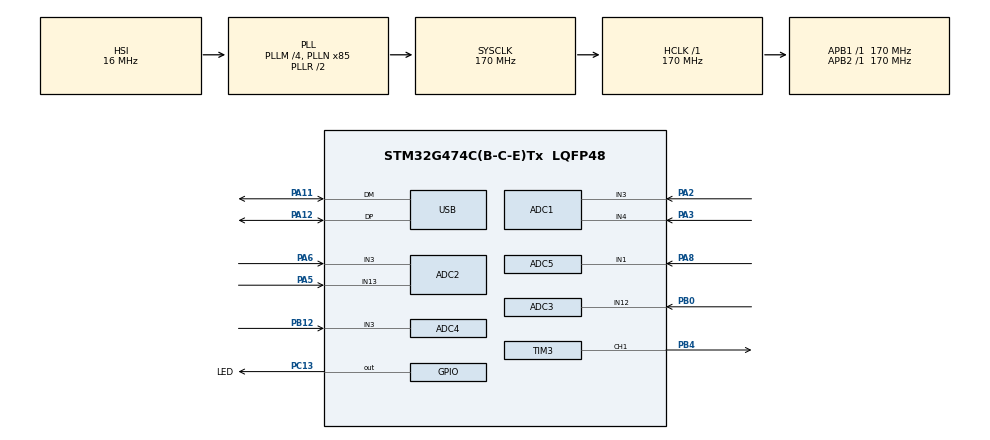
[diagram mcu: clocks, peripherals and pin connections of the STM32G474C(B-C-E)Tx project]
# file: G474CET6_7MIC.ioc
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ADC1.Channel-0\#ChannelRegularConversion=ADC_CHANNEL_3
ADC1.Channel-1\#ChannelRegularConversion=ADC_CHANNEL_4
ADC1.DMAContinuousRequests=ENABLE
ADC1.ExternalTrigConv=ADC_EXTERNALTRIG_T6_TRGO
ADC1.NbrOfConversion=2
ADC1.NbrOfConversionFlag=1
ADC1.OffsetNumber-0\#ChannelRegularConversion=ADC_OFFSET_NONE
ADC1.OffsetNumber-1\#ChannelRegularConversion=ADC_OFFSET_NONE
ADC1.Rank-0\#ChannelRegularConversion=1
ADC1.Rank-1\#ChannelRegularConversion=2
ADC1.SamplingTime-0\#ChannelRegularConversion=ADC_SAMPLETIME_640CYCLES_5
ADC1.SamplingTime-1\#ChannelRegularConversion=ADC_SAMPLETIME_640CYCLES_5
ADC1.master=1
ADC2.Channel-0\#ChannelRegularConversion=ADC_CHANNEL_13
ADC2.Channel-1\#ChannelRegularConversion=ADC_CHANNEL_3
ADC2.DMAContinuousRequests=ENABLE
ADC2.ExternalTrigConv=ADC_EXTERNALTRIG_T6_TRGO
ADC2.NbrOfConversion=2
ADC2.NbrOfConversionFlag=1
ADC2.OffsetNumber-0\#ChannelRegularConversion=ADC_OFFSET_NONE
ADC2.OffsetNumber-1\#ChannelRegularConversion=ADC_OFFSET_NONE
ADC2.Rank-0\#ChannelRegularConversion=1
ADC2.Rank-1\#ChannelRegularConversion=2
ADC2.SamplingTime-0\#ChannelRegularConversion=ADC_SAMPLETIME_640CYCLES_5
ADC2.SamplingTime-1\#ChannelRegularConversion=ADC_SAMPLETIME_640CYCLES_5
ADC3.Channel-0\#ChannelRegularConversion=ADC_CHANNEL_12
ADC3.DMAContinuousRequests=ENABLE
ADC3.ExternalTrigConv=ADC_EXTERNALTRIG_T6_TRGO
ADC3.NbrOfConversionFlag=1
ADC3.OffsetNumber-0\#ChannelRegularConversion=ADC_OFFSET_NONE
ADC3.Rank-0\#ChannelRegularConversion=1
ADC3.SamplingTime-0\#ChannelRegularConversion=ADC_SAMPLETIME_640CYCLES_5
ADC3.master=1
ADC4.Channel-1\#ChannelRegularConversion=ADC_CHANNEL_3
ADC4.DMAContinuousRequests=ENABLE
ADC4.ExternalTrigConv=ADC_EXTERNALTRIG_T6_TRGO
ADC4.NbrOfConversionFlag=1
ADC4.OffsetNumber-1\#ChannelRegularConversion=ADC_OFFSET_NONE
ADC4.Rank-1\#ChannelRegularConversion=1
ADC4.SamplingTime-1\#ChannelRegularConversion=ADC_SAMPLETIME_640CYCLES_5
ADC5.Channel-0\#ChannelRegularConversion=ADC_CHANNEL_1
ADC5.DMAContinuousRequests=ENABLE
ADC5.ExternalTrigConv=ADC_EXTERNALTRIG_T6_TRGO
ADC5.NbrOfConversionFlag=1
ADC5.OffsetNumber-0\#ChannelRegularConversion=ADC_OFFSET_NONE
ADC5.Rank-0\#ChannelRegularConversion=1
ADC5.SamplingTime-0\#ChannelRegularConversion=ADC_SAMPLETIME_640CYCLES_5
Dma.ADC1.0.Direction=DMA_PERIPH_TO_MEMORY
Dma.ADC1.0.EventEnable=DISABLE
Dma.ADC1.0.Instance=DMA1_Channel1
Dma.ADC1.0.MemDataAlignment=DMA_MDATAALIGN_HALFWORD
Dma.ADC1.0.MemInc=DMA_MINC_ENABLE
Dma.ADC1.0.Mode=DMA_CIRCULAR
Dma.ADC1.0.PeriphDataAlignment=DMA_PDATAALIGN_HALFWORD
Dma.ADC1.0.PeriphInc=DMA_PINC_DISABLE
Dma.ADC1.0.Polarity=HAL_DMAMUX_REQ_GEN_RISING
Dma.ADC1.0.Priority=DMA_PRIORITY_MEDIUM
Dma.ADC1.0.RequestNumber=1
Dma.ADC1.0.SignalID=NONE
Dma.ADC1.0.SyncEnable=DISABLE
Dma.ADC1.0.SyncPolarity=HAL_DMAMUX_SYNC_NO_EVENT
Dma.ADC1.0.SyncRequestNumber=1
Dma.ADC1.0.SyncSignalID=NONE
Dma.ADC2.1.Direction=DMA_PERIPH_TO_MEMORY
Dma.ADC2.1.EventEnable=DISABLE
Dma.ADC2.1.Instance=DMA1_Channel2
Dma.ADC2.1.MemDataAlignment=DMA_MDATAALIGN_HALFWORD
Dma.ADC2.1.MemInc=DMA_MINC_ENABLE
Dma.ADC2.1.Mode=DMA_CIRCULAR
Dma.ADC2.1.PeriphDataAlignment=DMA_PDATAALIGN_HALFWORD
Dma.ADC2.1.PeriphInc=DMA_PINC_DISABLE
Dma.ADC2.1.Polarity=HAL_DMAMUX_REQ_GEN_RISING
Dma.ADC2.1.Priority=DMA_PRIORITY_LOW
Dma.ADC2.1.RequestNumber=1
Dma.ADC2.1.SignalID=NONE
Dma.ADC2.1.SyncEnable=DISABLE
Dma.ADC2.1.SyncPolarity=HAL_DMAMUX_SYNC_NO_EVENT
Dma.ADC2.1.SyncRequestNumber=1
Dma.ADC2.1.SyncSignalID=NONE
Dma.ADC3.2.Direction=DMA_PERIPH_TO_MEMORY
Dma.ADC3.2.EventEnable=DISABLE
Dma.ADC3.2.Instance=DMA2_Channel1
Dma.ADC3.2.MemDataAlignment=DMA_MDATAALIGN_HALFWORD
Dma.ADC3.2.MemInc=DMA_MINC_ENABLE
Dma.ADC3.2.Mode=DMA_CIRCULAR
Dma.ADC3.2.PeriphDataAlignment=DMA_PDATAALIGN_HALFWORD
Dma.ADC3.2.PeriphInc=DMA_PINC_DISABLE
Dma.ADC3.2.Polarity=HAL_DMAMUX_REQ_GEN_RISING
Dma.ADC3.2.Priority=DMA_PRIORITY_HIGH
Dma.ADC3.2.RequestNumber=1
Dma.ADC3.2.SignalID=NONE
Dma.ADC3.2.SyncEnable=DISABLE
Dma.ADC3.2.SyncPolarity=HAL_DMAMUX_SYNC_NO_EVENT
Dma.ADC3.2.SyncRequestNumber=1
Dma.ADC3.2.SyncSignalID=NONE
Dma.ADC4.3.Direction=DMA_PERIPH_TO_MEMORY
Dma.ADC4.3.EventEnable=DISABLE
Dma.ADC4.3.Instance=DMA2_Channel2
Dma.ADC4.3.MemDataAlignment=DMA_MDATAALIGN_HALFWORD
Dma.ADC4.3.MemInc=DMA_MINC_ENABLE
Dma.ADC4.3.Mode=DMA_CIRCULAR
Dma.ADC4.3.PeriphDataAlignment=DMA_PDATAALIGN_HALFWORD
Dma.ADC4.3.PeriphInc=DMA_PINC_DISABLE
Dma.ADC4.3.Polarity=HAL_DMAMUX_REQ_GEN_RISING
Dma.ADC4.3.Priority=DMA_PRIORITY_LOW
Dma.ADC4.3.RequestNumber=1
Dma.ADC4.3.SignalID=NONE
Dma.ADC4.3.SyncEnable=DISABLE
Dma.ADC4.3.SyncPolarity=HAL_DMAMUX_SYNC_NO_EVENT
Dma.ADC4.3.SyncRequestNumber=1
Dma.ADC4.3.SyncSignalID=NONE
Dma.ADC5.4.Direction=DMA_PERIPH_TO_MEMORY
Dma.ADC5.4.EventEnable=DISABLE
Dma.ADC5.4.Instance=DMA2_Channel3
Dma.ADC5.4.MemDataAlignment=DMA_MDATAALIGN_HALFWORD
Dma.ADC5.4.MemInc=DMA_MINC_ENABLE
Dma.ADC5.4.Mode=DMA_CIRCULAR
Dma.ADC5.4.PeriphDataAlignment=DMA_PDATAALIGN_HALFWORD
Dma.ADC5.4.PeriphInc=DMA_PINC_DISABLE
Dma.ADC5.4.Polarity=HAL_DMAMUX_REQ_GEN_RISING
Dma.ADC5.4.Priority=DMA_PRIORITY_VERY_HIGH
Dma.ADC5.4.RequestNumber=1
Dma.ADC5.4.SignalID=NONE
Dma.ADC5.4.SyncEnable=DISABLE
Dma.ADC5.4.SyncPolarity=HAL_DMAMUX_SYNC_NO_EVENT
Dma.ADC5.4.SyncRequestNumber=1
Dma.ADC5.4.SyncSignalID=NONE
Dma.Request0=ADC1
Dma.Request1=ADC2
Dma.Request2=ADC3
Dma.Request3=ADC4
Dma.Request4=ADC5
FREERTOS.Events01=adc_dma_Event,Dynamic,NULL
FREERTOS.Tasks01=defaultTask,24,1024,StartDefaultTask,Default,NULL,Dynamic,NULL,NULL;ledTask,8,128,LEDTask,Default,NULL,Dynamic,NULL,NULL
FREERTOS.configTOTAL_HEAP_SIZE=10240
Mcu.Family=STM32G4
Mcu.Name=STM32G474C(B-C-E)Tx
Mcu.Package=LQFP48
NVIC.DMA1_Channel1_IRQn=true\:5\:0\:false\:false\:true\:true\:false\:true\:true
NVIC.DMA1_Channel2_IRQn=true\:5\:0\:false\:false\:true\:true\:false\:true\:true
NVIC.DMA2_Channel1_IRQn=true\:5\:0\:true\:false\:true\:false\:false\:true\:true
NVIC.DMA2_Channel2_IRQn=true\:5\:0\:true\:false\:true\:false\:false\:true\:true
NVIC.DMA2_Channel3_IRQn=true\:5\:0\:true\:false\:true\:false\:false\:true\:true
NVIC.PriorityGroup=NVIC_PRIORITYGROUP_4
NVIC.TIM20_UP_IRQn=true\:15\:0\:false\:false\:true\:false\:false\:true\:true
NVIC.TimeBase=TIM20_UP_IRQn
NVIC.TimeBaseIP=TIM20
NVIC.USB_LP_IRQn=true\:5\:0\:false\:false\:true\:true\:false\:true\:true
PA11.Mode=Device
PA11.Signal=USB_DM
PA12.Mode=Device
PA12.Signal=USB_DP
PA13.Mode=Serial_Wire
PA13.Signal=SYS_JTMS-SWDIO
PA14.Mode=Serial_Wire
PA14.Signal=SYS_JTCK-SWCLK
PA2.Mode=IN3-Single-Ended
PA2.Signal=ADC1_IN3
PA3.Mode=IN4-Single-Ended
PA3.Signal=ADC1_IN4
PA5.Mode=IN13-Single-Ended
PA5.Signal=ADC2_IN13
PA6.Mode=IN3-Single-Ended
PA6.Signal=ADC2_IN3
PA8.Mode=IN1-Single-Ended
PA8.Signal=ADC5_IN1
PB0.Mode=IN12-Single-Ended
PB0.Signal=ADC3_IN12
PB12.Mode=IN3-Single-Ended
PB12.Signal=ADC4_IN3
PB4.GPIO_ModeDefaultPP=GPIO_MODE_AF_OD
PB4.GPIO_Speed=GPIO_SPEED_FREQ_VERY_HIGH
PB4.Signal=S_TIM3_CH1
PC13.GPIO_Label=LED
PC13.GPIO_ModeDefaultOutputPP=GPIO_MODE_OUTPUT_PP
PC13.GPIO_PuPd=GPIO_PULLUP
PC13.PinState=GPIO_PIN_SET
PC13.Signal=GPIO_Output
PF0-OSC_IN.Mode=HSE-External-Oscillator
PF0-OSC_IN.Signal=RCC_OSC_IN
PF1-OSC_OUT.Mode=HSE-External-Oscillator
PF1-OSC_OUT.Signal=RCC_OSC_OUT
ProjectManager.HeapSize=0x100
ProjectManager.StackSize=0x1000
ProjectManager.TargetToolchain=MDK-ARM V5.32
RCC.ADC12Freq_Value=170000000
RCC.ADC345Freq_Value=170000000
RCC.AHBFreq_Value=170000000
RCC.APB1Freq_Value=170000000
RCC.APB1TimFreq_Value=170000000
RCC.APB2Freq_Value=170000000
RCC.APB2TimFreq_Value=170000000
RCC.CK48CLockSelection=RCC_USBCLKSOURCE_HSI48
RCC.CortexFreq_Value=170000000
RCC.EXTERNAL_CLOCK_VALUE=12288000
RCC.HCLKFreq_Value=170000000
RCC.HSE_VALUE=8000000
RCC.HSI48_VALUE=48000000
RCC.HSI_VALUE=16000000
RCC.LSE_VALUE=32768
RCC.PLLM=RCC_PLLM_DIV4
RCC.PLLN=85
RCC.SYSCLKFreq_VALUE=170000000
RCC.SYSCLKSource=RCC_SYSCLKSOURCE_PLLCLK
RCC.USBFreq_Value=48000000
RCC.VCOOutputFreq_Value=340000000
SH.S_TIM3_CH1.0=TIM3_CH1,PWM Generation1 CH1
TIM3.AutoReloadPreload=TIM_AUTORELOAD_PRELOAD_ENABLE
TIM3.Channel-PWM\ Generation1\ CH1=TIM_CHANNEL_1
TIM3.PeriodNoDither=1
TIM3.Prescaler=849
TIM3.PulseNoDither_1=1
TIM6.AutoReloadPreload=TIM_AUTORELOAD_PRELOAD_ENABLE
TIM6.PeriodNoDither=99
TIM6.Prescaler=169
TIM6.TIM_MasterOutputTrigger=TIM_TRGO_UPDATE
USB_DEVICE.CLASS_NAME_FS=CDC
USB_DEVICE.VirtualMode=Cdc
USB_DEVICE.VirtualModeFS=Cdc_FS
VP_FREERTOS_VS_CMSIS_V2.Mode=CMSIS_V2
VP_SYS_VS_DBSignals.Mode=DisableDeadBatterySignals
VP_SYS_VS_tim20.Mode=TIM20
VP_TIM3_VS_ClockSourceINT.Mode=Internal
VP_TIM6_VS_ClockSourceINT.Mode=Enable_Timer
VP_USB_DEVICE_VS_USB_DEVICE_CDC_FS.Mode=CDC_FS
board=custom

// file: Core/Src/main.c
/* USER CODE BEGIN Header */
/**
  ******************************************************************************
  * @file           : main.c
  * @brief          : Main program body
  ******************************************************************************
  * @attention
  *
  * Copyright (c) 2025 STMicroelectronics.
  * All rights reserved.
  *
  * This software is licensed under terms that can be found in the LICENSE file
  * in the root directory of this software component.
  * If no LICENSE file comes with this software, it is provided AS-IS.
  *
  ******************************************************************************
  */
/* USER CODE END Header */
#include "main.h"
#include "cmsis_os.h"
#include "adc.h"
#include "dma.h"
#include "tim.h"
#include "usb_device.h"
#include "gpio.h"

void SystemClock_Config(void);
void MX_FREERTOS_Init(void);

int main(void)
{

  /* MCU Configuration--------------------------------------------------------*/

  /* Reset of all peripherals, Initializes the Flash interface and the Systick. */
  HAL_Init();

  /* Configure the system clock */
  SystemClock_Config();

  /* Initialize all configured peripherals */
  MX_GPIO_Init();
  MX_DMA_Init();
  MX_USB_Device_Init();
  MX_ADC1_Init();
  MX_ADC2_Init();
  MX_ADC3_Init();
  MX_ADC4_Init();
  MX_ADC5_Init();
  MX_TIM6_Init();
  MX_TIM3_Init();

  /* Init scheduler */
  osKernelInitialize();  /* Call init function for freertos objects (in freertos.c) */
  MX_FREERTOS_Init();

  /* Start scheduler */
  osKernelStart();

  /* We should never get here as control is now taken by the scheduler */
  /* Infinite loop */
  while (1)
  {

  }
}

void SystemClock_Config(void)
{
  RCC_OscInitTypeDef RCC_OscInitStruct = {0};
  RCC_ClkInitTypeDef RCC_ClkInitStruct = {0};

  /** Configure the main internal regulator output voltage
  */
  HAL_PWREx_ControlVoltageScaling(PWR_REGULATOR_VOLTAGE_SCALE1_BOOST);

  /** Initializes the RCC Oscillators according to the specified parameters
  * in the RCC_OscInitTypeDef structure.
  */
  RCC_OscInitStruct.OscillatorType = RCC_OSCILLATORTYPE_HSI|RCC_OSCILLATORTYPE_HSI48;
  RCC_OscInitStruct.HSIState = RCC_HSI_ON;
  RCC_OscInitStruct.HSICalibrationValue = RCC_HSICALIBRATION_DEFAULT;
  RCC_OscInitStruct.HSI48State = RCC_HSI48_ON;
  RCC_OscInitStruct.PLL.PLLState = RCC_PLL_ON;
  RCC_OscInitStruct.PLL.PLLSource = RCC_PLLSOURCE_HSI;
  RCC_OscInitStruct.PLL.PLLM = RCC_PLLM_DIV4;
  RCC_OscInitStruct.PLL.PLLN = 85;
  RCC_OscInitStruct.PLL.PLLP = RCC_PLLP_DIV2;
  RCC_OscInitStruct.PLL.PLLQ = RCC_PLLQ_DIV2;
  RCC_OscInitStruct.PLL.PLLR = RCC_PLLR_DIV2;
  if (HAL_RCC_OscConfig(&RCC_OscInitStruct) != HAL_OK)
  {
    Error_Handler();
  }

  /** Initializes the CPU, AHB and APB buses clocks
  */
  RCC_ClkInitStruct.ClockType = RCC_CLOCKTYPE_HCLK|RCC_CLOCKTYPE_SYSCLK
                              |RCC_CLOCKTYPE_PCLK1|RCC_CLOCKTYPE_PCLK2;
  RCC_ClkInitStruct.SYSCLKSource = RCC_SYSCLKSOURCE_PLLCLK;
  RCC_ClkInitStruct.AHBCLKDivider = RCC_SYSCLK_DIV1;
  RCC_ClkInitStruct.APB1CLKDivider = RCC_HCLK_DIV1;
  RCC_ClkInitStruct.APB2CLKDivider = RCC_HCLK_DIV1;

  if (HAL_RCC_ClockConfig(&RCC_ClkInitStruct, FLASH_LATENCY_4) != HAL_OK)
  {
    Error_Handler();
  }
}

void HAL_TIM_PeriodElapsedCallback(TIM_HandleTypeDef *htim)
{
  if (htim->Instance == TIM20) {
    HAL_IncTick();
  }
}

void Error_Handler(void)
{
  __disable_irq();
  while (1)
  {
  }
}

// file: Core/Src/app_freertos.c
/* USER CODE BEGIN Header */
/**
  ******************************************************************************
  * File Name          : app_freertos.c
  * Description        : Code for freertos applications
  ******************************************************************************
  * @attention
  *
  * Copyright (c) 2025 STMicroelectronics.
  * All rights reserved.
  *
  * This software is licensed under terms that can be found in the LICENSE file
  * in the root directory of this software component.
  * If no LICENSE file comes with this software, it is provided AS-IS.
  *
  ******************************************************************************
  */
/* USER CODE END Header */

#include "FreeRTOS.h"
#include "task.h"
#include "main.h"
#include "cmsis_os.h"

/* USER CODE BEGIN Includes */
#include "event_groups.h"
/* USER CODE END Includes */

/* USER CODE BEGIN PTD */
// 事件标志宏定义（5个ADC，每个有半满和全满事件）
#define EVENT_ADC1_DMA_HALF  (0x0001UL)  // ADC1半满（0~199数据，因ADC1缓存是400）
#define EVENT_ADC1_DMA_FULL  (0x0002UL)  // ADC1全满（200~399数据）
#define EVENT_ADC2_DMA_HALF  (0x0004UL)  // ADC2半满（0~199）
#define EVENT_ADC2_DMA_FULL  (0x0008UL)  // ADC2全满（200~399）
#define EVENT_ADC3_DMA_HALF  (0x0010UL)  // ADC3半满（0~99）
#define EVENT_ADC3_DMA_FULL  (0x0020UL)  // ADC3全满（100~199）
#define EVENT_ADC4_DMA_HALF  (0x0040UL)  // ADC4半满（0~99）
#define EVENT_ADC4_DMA_FULL  (0x0080UL)  // ADC4全满（100~199）
#define EVENT_ADC5_DMA_HALF  (0x0100UL)  // ADC5半满（0~99）
#define EVENT_ADC5_DMA_FULL  (0x0200UL)  // ADC5全满（100~199）

// 2. 组合标志：所有ADC的半满事件（用于同步等待）
#define EVENT_ALL_HALF (EVENT_ADC1_DMA_HALF | EVENT_ADC2_DMA_HALF | \
                        EVENT_ADC3_DMA_HALF | EVENT_ADC4_DMA_HALF | EVENT_ADC5_DMA_HALF)
// 3. 组合标志：所有ADC的全满事件
#define EVENT_ALL_FULL (EVENT_ADC1_DMA_FULL | EVENT_ADC2_DMA_FULL | \
                        EVENT_ADC3_DMA_FULL | EVENT_ADC4_DMA_FULL | EVENT_ADC5_DMA_FULL)

// 2. 组合标志：所有ADC的半满事件（用于同步等待）
#define EVENT_345_HALF (EVENT_ADC3_DMA_HALF | EVENT_ADC4_DMA_HALF | EVENT_ADC5_DMA_HALF)
// 3. 组合标志：所有ADC的全满事件
#define EVENT_345_FULL (EVENT_ADC3_DMA_FULL | EVENT_ADC4_DMA_FULL | EVENT_ADC5_DMA_FULL)

// 数据帧结构定义：2（帧头）+5×100（5路ADC数据）+2（帧尾）=504个Word_union
#define ADC_DATA_CNT  100    // 每路ADC通道单次发送数据量
#define FRAME_HEAD_CNT 2    // 帧头数量
#define FRAME_TAIL_CNT 2    // 帧尾数量
#define TOTAL_WORD_CNT (FRAME_HEAD_CNT + 5*ADC_DATA_CNT + FRAME_TAIL_CNT)
/* USER CODE END PTD */

/* Definitions for defaultTask */
osThreadId_t defaultTaskHandle;
const osThreadAttr_t defaultTask_attributes = {
  .name = "defaultTask",
  .priority = (osPriority_t) osPriorityNormal,
  .stack_size = 1024 * 4
};
/* Definitions for ledTask */
osThreadId_t ledTaskHandle;
const osThreadAttr_t ledTask_attributes = {
  .name = "ledTask",
  .priority = (osPriority_t) osPriorityLow,
  .stack_size = 128 * 4
};
/* Definitions for adc_dma_Event */
osEventFlagsId_t adc_dma_EventHandle;
const osEventFlagsAttr_t adc_dma_Event_attributes = {
  .name = "adc_dma_Event"
};

void StartDefaultTask(void *argument);
void LEDTask(void *argument);

void MX_FREERTOS_Init(void); /* (MISRA C 2004 rule 8.1) */

void MX_FREERTOS_Init(void) {

  /* Create the thread(s) */
  /* creation of defaultTask */
  defaultTaskHandle = osThreadNew(StartDefaultTask, NULL, &defaultTask_attributes);

  /* creation of ledTask */
  ledTaskHandle = osThreadNew(LEDTask, NULL, &ledTask_attributes);

  /* Create the event(s) */
  /* creation of adc_dma_Event */
  adc_dma_EventHandle = osEventFlagsNew(&adc_dma_Event_attributes);

}

/* USER CODE BEGIN Header_StartDefaultTask */
/**
  * @brief  Function implementing the defaultTask thread.
  * @param  argument: Not used
  * @retval None
  */
#define PACK_FRAME 100
uint16_t ADC1_value[PACK_FRAME*4];//MIC7 MIC4
uint16_t ADC2_value[PACK_FRAME*4];//MIC5 MIC6
uint16_t ADC3_value[PACK_FRAME*2];//MIC2
uint16_t ADC4_value[PACK_FRAME*2];//MIC3
uint16_t ADC5_value[PACK_FRAME*2];//MIC1

volatile Word_union mic_data_1[PACK_FRAME*7+4];
volatile Word_union mic_data_2[PACK_FRAME*7+4];
volatile Word_union* mic_send_p=mic_data_1;
volatile Word_union* mic_store_p=mic_data_2;

//电压采集完成之后需要进行缓存切换
void exchange_res_p(void)
{
	static uint8_t state=1;//第一次运行该函数前 采集的数据存到mic_data_2   第一次运行该函数后状态变为0，发送的指针指向mic_data_1  之后循环往复
	state=!state;

	if(state)
	{
		mic_send_p=mic_data_1;
		mic_store_p=mic_data_2;
	}
	else
	{
		mic_send_p=mic_data_2;
		mic_store_p=mic_data_1;
	}
}
char usb_buff[4096]={0};
char usb_buff2[256]={0};
/* USER CODE END Header_StartDefaultTask */
void StartDefaultTask(void *argument)
{
  /* USER CODE BEGIN StartDefaultTask */

	HAL_TIM_Base_Start(&htim6);
	HAL_TIM_PWM_Start(&htim3,TIM_CHANNEL_1);

	mic_data_1[0].byte[0]=0x55;//帧头
	mic_data_1[0].byte[1]=0xAA;
	mic_data_1[1].byte[0]=0xBB;
	mic_data_1[1].byte[1]=0xCC;
	for(uint16_t i=0;i<PACK_FRAME*7;i++)
	{
		mic_data_1[2+i].word16=i*1+1;
	}
	mic_data_1[PACK_FRAME*7+2].byte[0]=0xAA;//帧尾
	mic_data_1[PACK_FRAME*7+2].byte[1]=0x55;
	mic_data_1[PACK_FRAME*7+3].byte[0]=0x66;
	mic_data_1[PACK_FRAME*7+3].byte[1]=0x77;

	mic_data_2[0].byte[0]=0x55;//帧头
	mic_data_2[0].byte[1]=0xAA;
	mic_data_2[1].byte[0]=0xBB;
	mic_data_2[1].byte[1]=0xCC;
	for(uint16_t i=0;i<PACK_FRAME*7;i++)
	{
		mic_data_2[2+i].word16=i*2+2;
	}
	mic_data_2[PACK_FRAME*7+2].byte[0]=0xAA;//帧尾
	mic_data_2[PACK_FRAME*7+2].byte[1]=0x55;
	mic_data_2[PACK_FRAME*7+3].byte[0]=0x66;
	mic_data_2[PACK_FRAME*7+3].byte[1]=0x77;

	HAL_ADCEx_Calibration_Start(&hadc1,ADC_SINGLE_ENDED);
	HAL_ADCEx_Calibration_Start(&hadc2,ADC_SINGLE_ENDED);
	HAL_ADCEx_Calibration_Start(&hadc3,ADC_SINGLE_ENDED);
	HAL_ADCEx_Calibration_Start(&hadc4,ADC_SINGLE_ENDED);
	HAL_ADCEx_Calibration_Start(&hadc5,ADC_SINGLE_ENDED);

	osDelay(100);

	//要关闭ADC的连续转换，不然不受定时器触发的约束，一直转换
	HAL_ADC_Start_DMA(&hadc1, (uint32_t *)ADC1_value, PACK_FRAME*4);
	HAL_ADC_Start_DMA(&hadc2, (uint32_t *)ADC2_value, PACK_FRAME*4);
	HAL_ADC_Start_DMA(&hadc3, (uint32_t *)ADC3_value, PACK_FRAME*2);
	HAL_ADC_Start_DMA(&hadc4, (uint32_t *)ADC4_value, PACK_FRAME*2);
	HAL_ADC_Start_DMA(&hadc5, (uint32_t *)ADC5_value, PACK_FRAME*2);

	uint8_t CDC_result = USBD_OK;
	TickType_t xLastWakeTime;
	xLastWakeTime = xTaskGetTickCount();
	uint32_t ulReceivedEvents;          // 接收的事件标志
  /* Infinite loop */
  for(;;)
  {
	  // 等待：所有ADC半满 或 所有ADC全满（任意一组满足即响应）
		ulReceivedEvents = osEventFlagsWait(
		  adc_dma_EventHandle,            // 事件组句柄
		  EVENT_ALL_HALF | EVENT_ALL_FULL, // 等待的事件组合      EVENT_ALL_HALF | EVENT_ALL_FULL  EVENT_ADC5_DMA_HALF | EVENT_ADC5_DMA_FULL
		  osFlagsWaitAny,                 // 任意事件满足即返回
		  osWaitForever                    // 永久等待（直到事件触发）
		);
		if (ulReceivedEvents & EVENT_ALL_HALF)//EVENT_ADC5_DMA_HALF  EVENT_ALL_HALF
		{
			// 复制ADC5半满数据（0~99）
			  for(uint16_t i=0; i<PACK_FRAME; i++) {
				mic_store_p[FRAME_HEAD_CNT + i].word16 = ADC5_value[i];
				mic_store_p[FRAME_HEAD_CNT + PACK_FRAME*1 + i].word16 = ADC4_value[i];
				mic_store_p[FRAME_HEAD_CNT + PACK_FRAME*2 + i].word16 = ADC3_value[i];
				mic_store_p[FRAME_HEAD_CNT + PACK_FRAME*3 + i].word16 = ADC1_value[1+i*2];
				mic_store_p[FRAME_HEAD_CNT + PACK_FRAME*4 + i].word16 = ADC2_value[i*2];
				mic_store_p[FRAME_HEAD_CNT + PACK_FRAME*5 + i].word16 = ADC2_value[1+i*2];
				mic_store_p[FRAME_HEAD_CNT + PACK_FRAME*6 + i].word16 = ADC1_value[i*2];
			  }
			  // 清除所有半满事件标志（避免重复处理）
			osEventFlagsClear(adc_dma_EventHandle, EVENT_ALL_HALF);
		}
		else if (ulReceivedEvents & EVENT_ALL_FULL)//EVENT_ADC5_DMA_FULL  EVENT_ALL_FULL
		{
			// 复制ADC5全满数据（100~199）
			  for(uint16_t i=0; i<PACK_FRAME; i++) {
				mic_store_p[FRAME_HEAD_CNT + i].word16 = ADC5_value[i+PACK_FRAME];
				mic_store_p[FRAME_HEAD_CNT + PACK_FRAME*1 + i].word16 = ADC4_value[i+PACK_FRAME];
				mic_store_p[FRAME_HEAD_CNT + PACK_FRAME*2 + i].word16 = ADC3_value[i+PACK_FRAME];
				mic_store_p[FRAME_HEAD_CNT + PACK_FRAME*3 + i].word16 = ADC1_value[1+i*2+PACK_FRAME*2];
				mic_store_p[FRAME_HEAD_CNT + PACK_FRAME*4 + i].word16 = ADC2_value[i*2+PACK_FRAME*2];
				mic_store_p[FRAME_HEAD_CNT + PACK_FRAME*5 + i].word16 = ADC2_value[1+i*2+PACK_FRAME*2];
				mic_store_p[FRAME_HEAD_CNT + PACK_FRAME*6 + i].word16 = ADC1_value[i*2+PACK_FRAME*2];
			  }
			  // 清除所有全满事件标志
			osEventFlagsClear(adc_dma_EventHandle, EVENT_ALL_FULL);
		}

		exchange_res_p();//切换缓存区
		CDC_Transmit_FS((uint8_t *)mic_send_p->byte,(PACK_FRAME*7+4)*2);

		vTaskDelayUntil(&xLastWakeTime, pdMS_TO_TICKS(PACK_FRAME/10));

//	  sprintf(usb_buff,"ADC5_value:\r\n%d\r\n%d\r\n%d\r\n%d\r\n%d\r\n%d\r\n%d\r\n%d\r\n%d\r\n%d\r\n\r\n",
//			ADC5_value[0],
//			ADC5_value[1],
//			ADC5_value[2],
//			ADC5_value[3],
//			ADC5_value[4],
//			ADC5_value[5],
//			ADC5_value[6],
//			ADC5_value[7],
//			ADC5_value[8],
//			ADC5_value[9]
//		);
//		CDC_result = CDC_Transmit_FS((uint8_t *)usb_buff,strlen(usb_buff));
//    osDelay(100);
  }
  /* USER CODE END StartDefaultTask */
}

void LEDTask(void *argument)
{
  /* USER CODE BEGIN LEDTask */
	TickType_t xLastWakeTime;
	xLastWakeTime = xTaskGetTickCount();
  /* Infinite loop */
  for(;;)
  {
	  HAL_GPIO_TogglePin(LED_GPIO_Port,LED_Pin);
//		osDelay(100);
	  vTaskDelayUntil(&xLastWakeTime, pdMS_TO_TICKS(100));
  }
  /* USER CODE END LEDTask */
}

/* USER CODE BEGIN Application */
void HAL_ADC_ConvCpltCallback(ADC_HandleTypeDef *hadc)
{
	BaseType_t xHigherPriorityTaskWoken = pdFALSE;
	EventGroupHandle_t xEventGroup = (EventGroupHandle_t)adc_dma_EventHandle; // 转换句柄类型
	if(hadc == & hadc1)
	{
		xEventGroupSetBitsFromISR(
		  xEventGroup,          // 事件组句柄（转换后）
		  EVENT_ADC1_DMA_FULL,  // 要设置的事件标志
		  &xHigherPriorityTaskWoken  // 输出参数：是否需要切换任务
		);
	}
	else if(hadc == & hadc2)
	{
		xEventGroupSetBitsFromISR(
		  xEventGroup,          // 事件组句柄（转换后）
		  EVENT_ADC2_DMA_FULL,  // 要设置的事件标志
		  &xHigherPriorityTaskWoken  // 输出参数：是否需要切换任务
		);
	}
	else if(hadc == & hadc3)
	{
		xEventGroupSetBitsFromISR(
		  xEventGroup,          // 事件组句柄（转换后）
		  EVENT_ADC3_DMA_FULL,  // 要设置的事件标志
		  &xHigherPriorityTaskWoken  // 输出参数：是否需要切换任务
		);
	}
	else if(hadc == & hadc4)
	{
		xEventGroupSetBitsFromISR(
		  xEventGroup,          // 事件组句柄（转换后）
		  EVENT_ADC4_DMA_FULL,  // 要设置的事件标志
		  &xHigherPriorityTaskWoken  // 输出参数：是否需要切换任务
		);
	}
	else if(hadc == & hadc5)
	{
		xEventGroupSetBitsFromISR(
		  xEventGroup,          // 事件组句柄（转换后）
		  EVENT_ADC5_DMA_FULL,  // 要设置的事件标志
		  &xHigherPriorityTaskWoken  // 输出参数：是否需要切换任务
		);
	}
	portYIELD_FROM_ISR(xHigherPriorityTaskWoken);
}

void HAL_ADC_ConvHalfCpltCallback(ADC_HandleTypeDef *hadc)
{
	BaseType_t xHigherPriorityTaskWoken = pdFALSE;
	EventGroupHandle_t xEventGroup = (EventGroupHandle_t)adc_dma_EventHandle; // 转换句柄类型
	if(hadc == & hadc1)
	{
		xEventGroupSetBitsFromISR(
		  xEventGroup,          // 事件组句柄（转换后）
		  EVENT_ADC1_DMA_HALF,  // 要设置的事件标志
		  &xHigherPriorityTaskWoken  // 输出参数：是否需要切换任务
		);
	}
	else if(hadc == & hadc2)
	{
		xEventGroupSetBitsFromISR(
		  xEventGroup,          // 事件组句柄（转换后）
		  EVENT_ADC2_DMA_HALF,  // 要设置的事件标志
		  &xHigherPriorityTaskWoken  // 输出参数：是否需要切换任务
		);
	}
	else if(hadc == & hadc3)
	{
		xEventGroupSetBitsFromISR(
		  xEventGroup,          // 事件组句柄（转换后）
		  EVENT_ADC3_DMA_HALF,  // 要设置的事件标志
		  &xHigherPriorityTaskWoken  // 输出参数：是否需要切换任务
		);
	}
	else if(hadc == & hadc4)
	{
		xEventGroupSetBitsFromISR(
		  xEventGroup,          // 事件组句柄（转换后）
		  EVENT_ADC4_DMA_HALF,  // 要设置的事件标志
		  &xHigherPriorityTaskWoken  // 输出参数：是否需要切换任务
		);
	}
	else if(hadc == & hadc5)
	{
		xEventGroupSetBitsFromISR(
		  xEventGroup,          // 事件组句柄（转换后）
		  EVENT_ADC5_DMA_HALF,  // 要设置的事件标志
		  &xHigherPriorityTaskWoken  // 输出参数：是否需要切换任务
		);
	}
	portYIELD_FROM_ISR(xHigherPriorityTaskWoken);
}
/* USER CODE END Application */
